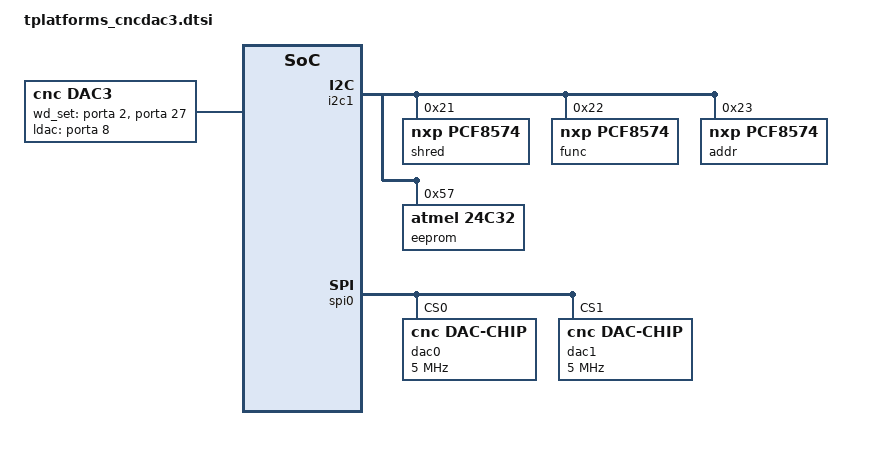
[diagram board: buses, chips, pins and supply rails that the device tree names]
/*
 * Baikal-T/T1 CNC DAC v3 board device tree
 *
 * Copyright (C) 2018 T-platforms JSC
 *
 * This program is free software; you can redistribute it and/or
 * modify it under the terms of the GNU General Public License
 * as published by the Free Software Foundation; either version 2
 * of the License, or (at your option) any later version.
 */

/ {
	/* Reserve memory regions for CMA and NTB */
	reserved-memory {
		#address-cells = <2>;
		#size-cells = <2>;
		ranges;

		/* Reserve 16MB for CMA-based allocations */
		cma: buffer@0 {
			compatible = "shared-dma-pool";
			alloc-ranges = <0 0x01000000 0 0x05000000>;
			size = <0 0x1000000>;
			alignment = <0 0x1000000>;
			reusable; /* specific for CMA */
		};
	};

	/* CNC DAC v3 board platform device */
	cnc {
		compatible = "cnc,dac3", "cnc,dac", "cnc,board";
		#address-cells = <1>;
		#size-cells = <0>;

		memory-region = <&cma>;
		board_info = <&shred>;
		board_addr = <&addr>;
		board_func = <&func>;

		wd_set-gpios = <&porta 2  GPIO_ACTIVE_HIGH>, /* wd_set pin */
			       <&porta 27 GPIO_ACTIVE_HIGH>; /* wd_in  pin */

		/* Load-DAC outputs setup in the DAC config registers */
		ldac-gpios = <&porta 8 GPIO_ACTIVE_HIGH>;

		dac@0 {
			reg = <0>;
			dev = <&dac0 &dac1>;
		};
	};
};

&usb {
	status = "disabled";
};

&sata {
	status = "disabled";
};

&mdio0 {
	status = "disabled";
};

&xgmac {
	status = "disabled";
};

&gmac0 {
	status = "disabled";
};

&gmac1 {
	status = "disabled";
};

/* Board settings devices */
&i2c1 {
	status = "okay";

	shred: gpio@21 {
		compatible = "nxp,pcf8574";
		reg = <0x21>;
		gpio-controller;
		#gpio-cells = <2>;
		ngpios = <8>; /* Informative */
	};

	func: gpio@22 {
		compatible = "nxp,pcf8574";
		reg = <0x22>;
		gpio-controller;
		#gpio-cells = <2>;
		ngpios = <8>; /* Informative */
	};

	addr: gpio@23 {
		compatible = "nxp,pcf8574";
		reg = <0x23>;
		gpio-controller;
		#gpio-cells = <2>;
		ngpios = <8>; /* Informative */
	};

        eeprom@57 {
                compatible = "atmel,24c32";
                reg = <0x57>;
                pagesize = <16>;
        };
};

&uart1 {
	status = "disabled";
};

/* DA5754 DAC chips */
&spi0 {
	status = "okay";

	num-cs = <2>;

	dac0: da5754@0 {
		/*compatible = "adi,ad5754";*/
		compatible = "cnc,dac-chip";
		reg = <0>;
		spi-max-frequency = <5000000>;
		spi-cpha;
	};

	dac1: da5754@1 {
		/*compatible = "adi,ad5754";*/
		compatible = "cnc,dac-chip";
		reg = <1>;
		spi-max-frequency = <5000000>;
		spi-cpha;
	};
};

&spi1 {
	status = "disabled";
};
